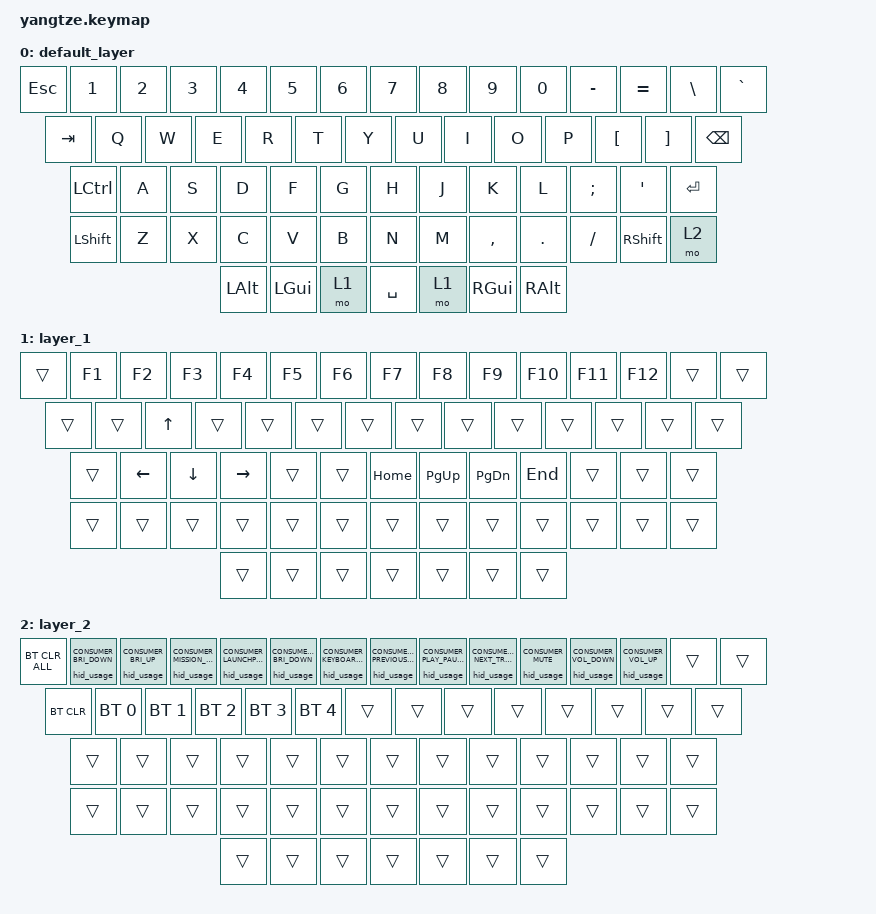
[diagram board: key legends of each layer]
/ {
    chosen {
        zmk,kscan = &kscan0;
    };

    outputs {
        compatible = "zmk,outputs";
        usb {
            compatible = "zmk,output-usb";
            label = "USB";
            priority = 90;
        };
        ble {
            compatible = "zmk,output-ble";
            label = "BLE";
            priority = 80;
        };
    };

    keymap {
        compatible = "zmk,keymap";

        default_layer {
// --------------------------------------------------------------------------------------------
// | ESC |  1  |  2  |  3  |  4  |  5  |  6  |  7  |  8  |  9  |  0  |  -  |  =  |  "|"  |  ` |
// | TAB  |  Q  |  W  |  E  |  R  |  T  |  Y  |  U  |  I  |  O  |  P  |  [  |  ]  |    BSPC   |
// | CTL   |  A  |  S  |  D  |  F  |  G  |  H  |  J  |  K  |  L  |  ;  |  '  |      ENTER     |
// |  SHIFT  |  Z  |  X  |  C  |  V  |  B  |  N  |  M  |  ,  |  .  |  /  |   SHIFT   | MO(2)  |
// |    |  ALT  |  WIN  | MO(1) |            SPACE              | MO(1) | WIN  | ALT |        |
// --------------------------------------------------------------------------------------------
            bindings = <
&kp ESC  &kp N1 &kp N2 &kp N3 &kp N4 &kp N5 &kp N6 &kp N7 &kp N8 &kp N9 &kp N0 &kp MINUS &kp EQUAL &kp BSLH &kp GRAVE
&kp TAB  &kp Q  &kp W  &kp E  &kp R  &kp T  &kp Y  &kp U  &kp I  &kp O  &kp P  &kp LBKT  &kp RBKT  &kp BSPC
&kp LCTRL  &kp A  &kp S  &kp D  &kp F  &kp G  &kp H  &kp J  &kp K  &kp L  &kp SEMI &kp SQT           &kp RET
&kp LSHFT   &kp Z  &kp X  &kp C  &kp V  &kp B  &kp N  &kp M  &kp COMMA &kp DOT &kp FSLH        &kp RSHFT &mo 2
     &kp LALT &kp LGUI  &mo 1             &kp SPACE                   &mo 1 &kp RGUI &kp RALT  
            >;
        };

        layer_1 {
// --------------------------------------------------------------------------------------------
// |     | F1  | F2  | F3  | F4  | F5  | F6  | F7  | F8  | F9  | F10  | F11  | F12  |    |    |
// |      |     |  UP |     |     |     |     |     |     |     |     |     |     |           |
// |       |  LT |  DN |  RT |     |     | HM  | PD  | PU  |  ED |     |     |                |
// |         |     |     |     |     |     |     |     |     |     |     |           |        |
// |    |       |       |       |                               |       |      |     |        |
// --------------------------------------------------------------------------------------------
            bindings = <
&trans  &kp F1 &kp F2 &kp F3 &kp F4 &kp F5 &kp F6 &kp F7 &kp F8 &kp F9 &kp F10 &kp F11 &kp F12 &trans &trans
&trans  &trans &kp UP  &trans &trans &trans &trans &trans &trans &trans &trans &trans &trans &trans
&trans  &kp LEFT  &kp DOWN  &kp RIGHT  &trans &trans &kp HOME &kp PG_UP &kp PG_DN  &kp END  &trans &trans &trans
&trans   &trans &trans &trans &trans &trans &trans &trans &trans &trans &trans &trans &trans
     &trans &trans &trans &trans &trans &trans &trans 
            >;
        };

        layer_2 {
            bindings = <
&bt BT_CLR_ALL  &hid_usage CONSUMER_BRIGHTNESS_DOWN &hid_usage CONSUMER_BRIGHTNESS_UP &hid_usage CONSUMER_MISSION_CONTROL &hid_usage CONSUMER_LAUNCHPAD &hid_usage CONSUMER_KEYBOARD_BRIGHTNESS_DOWN &hid_usage CONSUMER_KEYBOARD_BRIGHTNESS_UP &hid_usage CONSUMER_SCAN_PREVIOUS_TRACK &hid_usage CONSUMER_PLAY_PAUSE &hid_usage CONSUMER_SCAN_NEXT_TRACK &hid_usage CONSUMER_MUTE &hid_usage CONSUMER_VOLUME_DOWN &hid_usage CONSUMER_VOLUME_UP &trans &trans
&bt BT_CLR  &bt BT_SEL 0 &bt BT_SEL 1  &bt BT_SEL 2 &bt BT_SEL 3 &bt BT_SEL 4 &trans &trans &trans &trans &trans &trans &trans &trans
&trans  &trans &trans &trans &trans &trans &trans &trans &trans &trans &trans &trans &trans
&trans   &trans &trans &trans &trans &trans &trans &trans &trans &trans &trans &trans &trans
     &trans &trans &trans &trans &trans &trans &trans 
            >;
        };
    };
};
